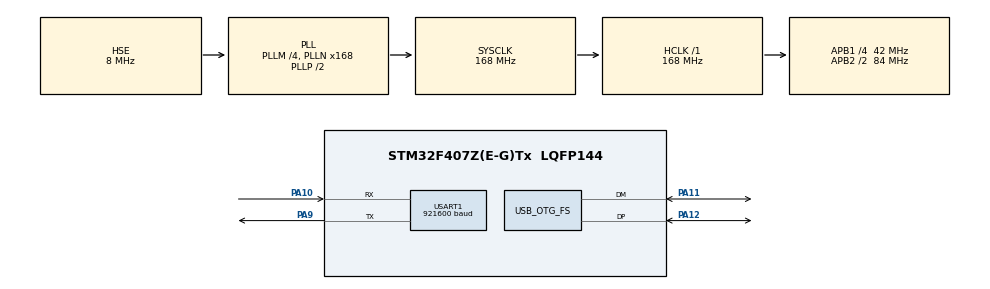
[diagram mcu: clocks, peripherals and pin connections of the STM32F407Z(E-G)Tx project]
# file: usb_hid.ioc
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Mcu.Family=STM32F4
Mcu.Name=STM32F407Z(E-G)Tx
Mcu.Package=LQFP144
NVIC.OTG_FS_IRQn=true\:0\:0\:false\:false\:true\:false\:true
NVIC.PriorityGroup=NVIC_PRIORITYGROUP_4
PA10.Mode=Asynchronous
PA10.Signal=USART1_RX
PA11.Mode=Device_Only
PA11.Signal=USB_OTG_FS_DM
PA12.Mode=Device_Only
PA12.Signal=USB_OTG_FS_DP
PA13.Mode=Serial_Wire
PA13.Signal=SYS_JTMS-SWDIO
PA14.Mode=Serial_Wire
PA14.Signal=SYS_JTCK-SWCLK
PA9.Mode=Asynchronous
PA9.Signal=USART1_TX
PH0-OSC_IN.Mode=HSE-External-Oscillator
PH0-OSC_IN.Signal=RCC_OSC_IN
PH1-OSC_OUT.Mode=HSE-External-Oscillator
PH1-OSC_OUT.Signal=RCC_OSC_OUT
ProjectManager.HeapSize=0x2000
ProjectManager.StackSize=0x400
ProjectManager.TargetToolchain=MDK-ARM V5.32
RCC.48MHZClocksFreq_Value=48000000
RCC.AHBFreq_Value=168000000
RCC.APB1CLKDivider=RCC_HCLK_DIV4
RCC.APB1Freq_Value=42000000
RCC.APB1TimFreq_Value=84000000
RCC.APB2CLKDivider=RCC_HCLK_DIV2
RCC.APB2Freq_Value=84000000
RCC.APB2TimFreq_Value=168000000
RCC.CortexFreq_Value=168000000
RCC.HCLKFreq_Value=168000000
RCC.HSE_VALUE=8000000
RCC.HSI_VALUE=16000000
RCC.LSE_VALUE=32768
RCC.PLLM=4
RCC.PLLN=168
RCC.PLLQ=7
RCC.SYSCLKFreq_VALUE=168000000
RCC.SYSCLKSource=RCC_SYSCLKSOURCE_PLLCLK
RCC.VCOOutputFreq_Value=336000000
USART1.BaudRate=921600
USART1.VirtualMode=VM_ASYNC
USB_DEVICE.CLASS_NAME_FS=HID
USB_DEVICE.HID_FS_BINTERVAL=0x5
USB_DEVICE.USBD_MAX_NUM_CONFIGURATION-HID_FS=64
USB_DEVICE.USBD_MAX_NUM_INTERFACES-HID_FS=34
USB_DEVICE.VirtualMode-HID_FS=Hid
USB_DEVICE.VirtualModeFS=Hid_FS
USB_OTG_FS.VirtualMode=Device_Only
VP_USB_DEVICE_VS_USB_DEVICE_HID_FS.Mode=HID_FS
board=custom

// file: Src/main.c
/* USER CODE BEGIN Header */
/**
  ******************************************************************************
  * @file           : main.c
  * @brief          : Main program body
  ******************************************************************************
  * @attention
  *
  * <h2><center>&copy; Copyright (c) 2024 STMicroelectronics.
  * All rights reserved.</center></h2>
  *
  * This software component is licensed by ST under Ultimate Liberty license
  * SLA0044, the "License"; You may not use this file except in compliance with
  * the License. You may obtain a copy of the License at:
  *                             www.st.com/SLA0044
  *
  ******************************************************************************
  */
/* USER CODE END Header */
#include "main.h"
#include "usart.h"
#include "usb_device.h"
#include "gpio.h"

/* USER CODE BEGIN Includes */
#include <stdio.h>

/* USER CODE END Includes */

/* USER CODE BEGIN PV */
 struct mouseHID_t {
      uint8_t buttons;
      int8_t x;
      int8_t y;
      int8_t wheel;
  };

int fputc(int ch, FILE* stream)
{
    //USART_SendData(USART1, (unsigned char) ch);
    //while (!(USART1->SR & USART_FLAG_TXE));
    //USART_SendChar(USART1, (uint8_t)ch);
  HAL_UART_Transmit(&huart1, (uint8_t *)&ch, 1, 0xFFFF);
  return ch;
}
/* USER CODE END PV */

void SystemClock_Config(void);

/* USER CODE BEGIN 0 */
extern USBD_HandleTypeDef hUsbDeviceFS;
/* USER CODE END 0 */

int main(void)
{

  /* MCU Configuration--------------------------------------------------------*/

  /* Reset of all peripherals, Initializes the Flash interface and the Systick. */
  HAL_Init();

  /* Configure the system clock */
  SystemClock_Config();

  /* Initialize all configured peripherals */
  MX_GPIO_Init();
  MX_USART1_UART_Init();
  MX_USB_DEVICE_Init();

  /* Infinite loop */
  /* USER CODE BEGIN WHILE */
  struct mouseHID_t mouseHID;
  while (1)
  {

    mouseHID.buttons = 0;
    mouseHID.x = 10;
    mouseHID.y = 0;
    mouseHID.wheel = 0;
    USBD_HID_SendReport(&hUsbDeviceFS, (uint8_t *)&mouseHID, sizeof(struct mouseHID_t));
    //CDC_Transmit_FS((uint8_t *)&mouseHID, sizeof(struct mouseHID_t));
    //printf("send mouse report\r\n");
    HAL_Delay(10);
    /* USER CODE END WHILE */

  }
}

void SystemClock_Config(void)
{
  RCC_OscInitTypeDef RCC_OscInitStruct = {0};
  RCC_ClkInitTypeDef RCC_ClkInitStruct = {0};

  /** Configure the main internal regulator output voltage
  */
  __HAL_RCC_PWR_CLK_ENABLE();
  __HAL_PWR_VOLTAGESCALING_CONFIG(PWR_REGULATOR_VOLTAGE_SCALE1);
  /** Initializes the RCC Oscillators according to the specified parameters
  * in the RCC_OscInitTypeDef structure.
  */
  RCC_OscInitStruct.OscillatorType = RCC_OSCILLATORTYPE_HSE;
  RCC_OscInitStruct.HSEState = RCC_HSE_ON;
  RCC_OscInitStruct.PLL.PLLState = RCC_PLL_ON;
  RCC_OscInitStruct.PLL.PLLSource = RCC_PLLSOURCE_HSE;
  RCC_OscInitStruct.PLL.PLLM = 4;
  RCC_OscInitStruct.PLL.PLLN = 168;
  RCC_OscInitStruct.PLL.PLLP = RCC_PLLP_DIV2;
  RCC_OscInitStruct.PLL.PLLQ = 7;
  if (HAL_RCC_OscConfig(&RCC_OscInitStruct) != HAL_OK)
  {
    Error_Handler();
  }
  /** Initializes the CPU, AHB and APB buses clocks
  */
  RCC_ClkInitStruct.ClockType = RCC_CLOCKTYPE_HCLK|RCC_CLOCKTYPE_SYSCLK
                              |RCC_CLOCKTYPE_PCLK1|RCC_CLOCKTYPE_PCLK2;
  RCC_ClkInitStruct.SYSCLKSource = RCC_SYSCLKSOURCE_PLLCLK;
  RCC_ClkInitStruct.AHBCLKDivider = RCC_SYSCLK_DIV1;
  RCC_ClkInitStruct.APB1CLKDivider = RCC_HCLK_DIV4;
  RCC_ClkInitStruct.APB2CLKDivider = RCC_HCLK_DIV2;

  if (HAL_RCC_ClockConfig(&RCC_ClkInitStruct, FLASH_LATENCY_5) != HAL_OK)
  {
    Error_Handler();
  }
}

void Error_Handler(void)
{
  __disable_irq();
  while (1)
  {
  }
}

/************************ (C) COPYRIGHT STMicroelectronics *****END OF FILE****/
